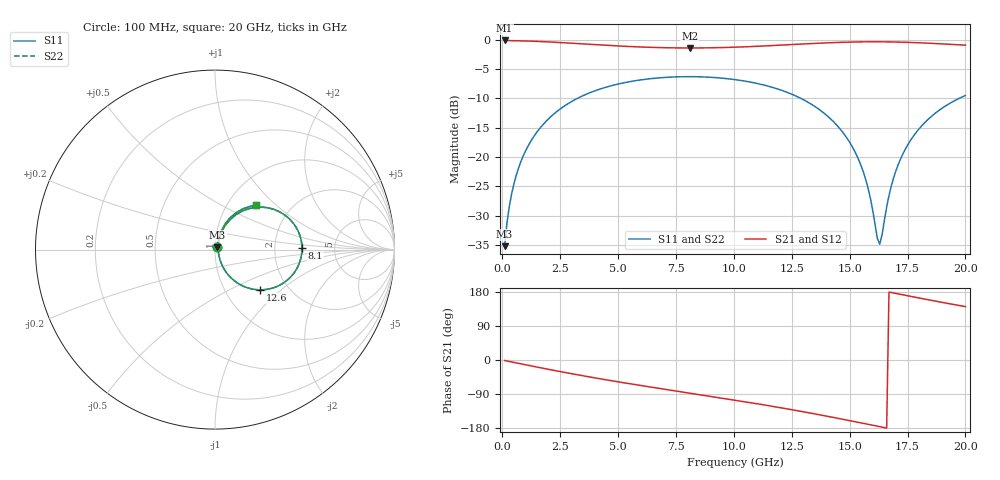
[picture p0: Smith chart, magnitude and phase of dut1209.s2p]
! Touchstone file exported from HFSS 2026.1.0
!  File:  C:/ffzhzh/LocalFiles/Ansys_Project_Files/temp_train_TSV_RDL_1209_1783319671_39728.aedt
!  Generated:  02:45:05 PM Jul  6, 2026
!  Design:  TSV_RDL
!  Project:  temp_train_TSV_RDL_1209_1783319671_39728
! Variables:
!  h_bsmrdl = 4.63um
!  h_ox = 20um
!  h_rdl = 5um
!  h_sub = 70.2um
!  h_tmrdl = 3.91um
!  h_tsv = 70.2um
!  h_via = 3um
!  l_bsmrdl = 356.44um
!  l_sub = 3725.69um
!  l_tmrdl = 522.55um
!  m_sub = 200um
!  pitch = 53.21um
!  r_tsv = 7.18um
!  s_tmrdl = 10um
!  w_bsmrdl = 29.15um
!  w_sub = 500um
!  w_tmrdl = 26.24um
!  x_tsv_center1 = 535.67um
!  x_tsv_center2 = 921.26um
!  x_tsv_center3 = 1470.05um
!  x_tsv_center4 = 1855.64um
!  x_tsv_center5 = 2404.43um
!  x_tsv_center6 = 2790.02um
# GHz S MA R 50.000000
! Terminal data exported
! Port[1] = TM_RDL1_1_T1
! Port[2] = TM_RDL5_1_T1
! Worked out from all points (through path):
!   200 points, 100 MHz to 20 GHz, reference 50 ohm
!   highest |S21| = -0.11 dB at 100 MHz (marker M1); lowest = -1.4 dB at 8.1 GHz (marker M2)
!   group delay of S21, straight-line fit = 29.5 ps
!   lowest |S11| = -35.2 dB at 100 MHz (marker M3), VSWR 1.04, Z = 51.3 + j1.23 ohm
!   |S11| at or under -10 dB: start of sweep to 3.243 GHz; 12.9 GHz to 19.73 GHz (6.831 GHz wide, 41.9 % of centre)
!   |S22| runs from -35.2 to -6.3 dB; largest |S21 - S12| = 5.8e-14
!   S11 on the Smith chart (normalised r, x): 100 MHz: 1.03, +0.02; 8.1 GHz: 2.88, +0.06; 12.6 GHz: 1.45, -0.73; 20 GHz: 1.35, +0.75
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0.1  0.01733 43.8  0.9877 -1.3  0.9877 -1.3  0.01733 43.8
! Gamma 0 0 0 0
! Port Impedance 50 0 50 0
0.3  0.03748 65.0  0.9857 -3.9  0.9857 -3.9  0.03748 65.0
0.5  0.05879 69.7  0.9839 -6.4  0.9839 -6.4  0.05879 69.7
1.1  0.1226 68.8  0.9768 -13.8  0.9768 -13.8  0.1226 68.8
2.1  0.2213 59.5  0.9576 -25.9  0.9576 -25.9  0.2213 59.5
3.5  0.3346 44.9  0.9225 -41.8  0.9225 -41.8  0.3346 44.9
5  0.4194 29.7  0.8864 -57.6  0.8864 -57.6  0.4194 29.7
6.8  0.4741 12.7  0.8583 -75.1  0.8583 -75.1  0.4741 12.7
8.1  0.4849 0.9  0.8521 -87.4  0.8521 -87.4  0.4849 0.9
10.1  0.4561 -17.4  0.866 -106.4  0.866 -106.4  0.4562 -17.4
12.6  0.3369 -41.7  0.9134 -132.2  0.9134 -132.2  0.337 -41.7
13.4  0.278 -49.8  0.9304 -141.1  0.9304 -141.1  0.278 -49.8
14.5  0.1819 -60.4  0.9502 -154.0  0.9502 -154.0  0.1819 -60.4
15.3  0.1038 -65.5  0.9592 -163.6  0.9592 -163.6  0.1039 -65.6
15.8  0.05387 -62.0  0.9619 -169.7  0.9619 -169.7  0.05387 -62.1
16.2  0.02009 -22.9  0.9622 -174.6  0.9622 -174.6  0.02002 -23.1
16.3  0.01802 7.2  0.962 -175.8  0.962 -175.8  0.01792 7.1
16.7  0.04679 65.2  0.9602 179.3  0.9602 179.3  0.04672 65.3
17.2  0.09627 71.1  0.9557 173.2  0.9557 173.2  0.09621 71.1
17.8  0.155 68.1  0.9473 165.9  0.9473 165.9  0.1549 68.2
18.8  0.2449 59.2  0.9279 154.2  0.9279 154.2  0.2449 59.2
20  0.3347 47.3  0.9002 140.9  0.9002 140.9  0.3346 47.3
